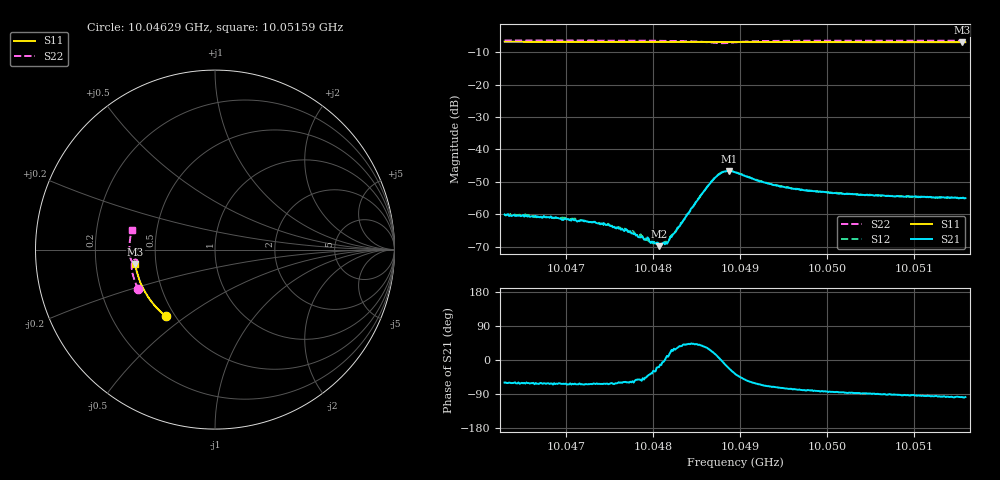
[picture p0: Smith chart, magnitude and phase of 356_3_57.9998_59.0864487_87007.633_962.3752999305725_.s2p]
#  HZ  S  RI  R  50.00
! Rohde & Schwarz Vector Network Analyzer
! Rohde-Schwarz,ZNB20-2Port,1311601062101988,3.16
! Created: UTC 3/21/2024, 1:06:14 AM
! freq[Hz]  re:S11  im:S11  re:S21  im:S21  re:S12  im:S12  re:S22  im:S22
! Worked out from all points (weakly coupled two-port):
!   401 points, 10.04629 GHz to 10.05159 GHz, reference 50 ohm
!   highest |S21| = -46.64 dB at 10.04887 GHz (marker M1); lowest = -69.9 dB at 10.04807 GHz (marker M2)
!   lowest |S11| = -6.9 dB at 10.05155 GHz (marker M3), VSWR 2.65, Z = 19 - j3.83 ohm
!   |S11| at or under -10 dB: nowhere
!   |S22| runs from -7.2 to -6.4 dB; largest |S21 - S12| = 0.00033
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1.0046291e10  -0.2736 -0.3715  0.000501 -0.000852  0.000553 -0.000809  -0.4274 -0.2212
1.0046569e10  -0.2879 -0.3597  0.000452 -0.000809  0.000528 -0.000806  -0.4351 -0.2042
1.0047178e10  -0.3172 -0.3322  0.000355 -0.000721  0.000402 -0.000693  -0.45 -0.1657
1.0047457e10  -0.3299 -0.3189  0.000309 -0.000604  0.000362 -0.000578  -0.4557 -0.1471
1.0047655e10  -0.3386 -0.309  0.000298 -0.000482  0.000336 -0.000487  -0.4591 -0.1334
1.0047708e10  -0.3408 -0.3063  0.000279 -0.000455  0.000303 -0.000464  -0.46 -0.1299
1.0047828e10  -0.3458 -0.3003  0.000276 -0.000345  0.000312 -0.000356  -0.4616 -0.1214
1.0048066e10  -0.3555 -0.2879  0.000303 -0.000104  0.00034 -6.16e-05  -0.4642 -0.1035
1.0048145e10  -0.3587 -0.2837  0.000361 3.44e-05  0.000382 8.02e-05  -0.4647 -0.0974
1.0048185e10  -0.3602 -0.2816  0.000395 0.000108  0.000383 0.000124  -0.4646 -0.0939
1.0048278e10  -0.3639 -0.2767  0.000518 0.000323  0.00046 0.000372  -0.4646 -0.0862
1.0048556e10  -0.374 -0.2616  0.00159 0.00126  0.00153 0.00133  -0.4555 -0.061
1.0048702e10  -0.3791 -0.2534  0.00339 0.00107  0.00334 0.00129  -0.4395 -0.0554
1.0048795e10  -0.382 -0.2484  0.00443 -0.000276  0.00444 4.72e-06  -0.432 -0.0642
1.0048874e10  -0.3848 -0.244  0.00429 -0.0018  0.00441 -0.00154  -0.4361 -0.0733
1.004894e10  -0.387 -0.2404  0.00359 -0.00263  0.00381 -0.00245  -0.4441 -0.0762
1.0049338e10  -0.3998 -0.2175  0.00102 -0.00275  0.00117 -0.00271  -0.4708 -0.0476
1.0049616e10  -0.4079 -0.2011  0.000552 -0.0024  0.000684 -0.0024  -0.4751 -0.0258
1.0049828e10  -0.4137 -0.1884  0.000397 -0.00225  0.00051 -0.00225  -0.4763 -0.00992
1.0050715e10  -0.4331 -0.1336  -1.05e-06 -0.00191  9.14e-05 -0.0019  -0.474 0.0516
1.005155e10  -0.4447 -0.0802  -0.00024 -0.00176  -0.000157 -0.00176  -0.4643 0.1064
1.005159e10  -0.4453 -0.0776  -0.000239 -0.00175  -0.000164 -0.0018  -0.4637 0.1092
